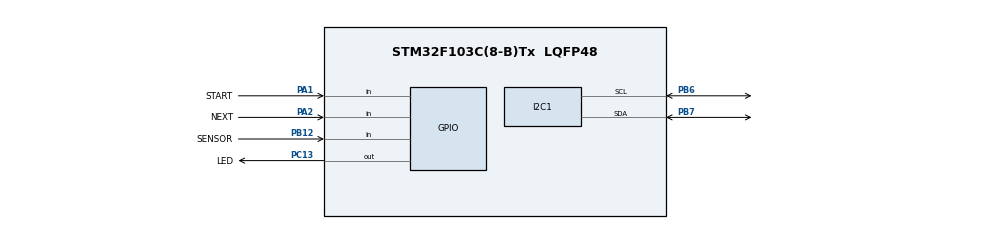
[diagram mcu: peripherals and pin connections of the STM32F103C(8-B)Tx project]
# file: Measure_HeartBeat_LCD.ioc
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Mcu.Family=STM32F1
Mcu.Name=STM32F103C(8-B)Tx
Mcu.Package=LQFP48
NVIC.PriorityGroup=NVIC_PRIORITYGROUP_4
NVIC.RCC_IRQn=true\:0\:0\:false\:false\:true\:true\:false
NVIC.TIM1_UP_IRQn=true\:0\:0\:false\:false\:true\:true\:true
PA1.GPIO_Label=START
PA1.GPIO_PuPd=GPIO_PULLUP
PA1.Signal=GPIO_Input
PA13.Mode=Serial_Wire
PA13.Signal=SYS_JTMS-SWDIO
PA14.Mode=Serial_Wire
PA14.Signal=SYS_JTCK-SWCLK
PA2.GPIO_Label=NEXT
PA2.GPIO_PuPd=GPIO_PULLUP
PA2.Signal=GPIO_Input
PB12.GPIO_Label=SENSOR
PB12.Signal=GPIO_Input
PB6.Mode=I2C
PB6.Signal=I2C1_SCL
PB7.Mode=I2C
PB7.Signal=I2C1_SDA
PC13-TAMPER-RTC.GPIO_Label=LED
PC13-TAMPER-RTC.Signal=GPIO_Output
PD0-OSC_IN.Mode=HSE-External-Oscillator
PD0-OSC_IN.Signal=RCC_OSC_IN
PD1-OSC_OUT.Mode=HSE-External-Oscillator
PD1-OSC_OUT.Signal=RCC_OSC_OUT
ProjectManager.HeapSize=0x200
ProjectManager.StackSize=0x400
ProjectManager.TargetToolchain=MDK-ARM V5
RCC.APB1Freq_Value=8000000
RCC.APB2Freq_Value=8000000
RCC.SYSCLKSource=RCC_SYSCLKSOURCE_HSE
TIM1.Period=99
TIM1.Prescaler=799
VP_TIM1_VS_ClockSourceINT.Mode=Internal
board=custom

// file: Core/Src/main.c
/* USER CODE BEGIN Header */
/**
  ******************************************************************************
  * @file           : main.c
  * @brief          : Main program body
  ******************************************************************************
  * @attention
  *
  * <h2><center>&copy; Copyright (c) 2021 STMicroelectronics.
  * All rights reserved.</center></h2>
  *
  * This software component is licensed by ST under BSD 3-Clause license,
  * the "License"; You may not use this file except in compliance with the
  * License. You may obtain a copy of the License at:
  *                        opensource.org/licenses/BSD-3-Clause
  *
  ******************************************************************************
  */
/* USER CODE END Header */
#include "main.h"
#include "i2c-lcd.h"
#include <stdio.h>
#include <stdlib.h>

I2C_HandleTypeDef hi2c1;

TIM_HandleTypeDef htim1;

/* USER CODE BEGIN PV */
	int temp=0;
	int beat=0;
	int nhip=0;
	int xung=0;
	int result=0;
	int ok =0;
	int frist =0;
	int second=0;
	float time=0;
	float time_=0;
/* USER CODE END PV */

void SystemClock_Config(void);
static void MX_GPIO_Init(void);
static void MX_I2C1_Init(void);
static void MX_TIM1_Init(void);
int heart_beat();

int main(void)
{

  /* MCU Configuration--------------------------------------------------------*/

  /* Reset of all peripherals, Initializes the Flash interface and the Systick. */
  HAL_Init();

  /* Configure the system clock */
  SystemClock_Config();

  /* Initialize all configured peripherals */
  MX_GPIO_Init();
  MX_I2C1_Init();
  MX_TIM1_Init();
  /* USER CODE BEGIN 2 */
	HAL_TIM_Base_Start_IT(&htim1);
	lcd_init();
	lcd_goto_XY(1,0);
	lcd_send_string("  Measure Beat");
	HAL_Delay(1000);
	lcd_goto_XY(2,0);
	lcd_send_string(" By Tuan Cuong");
  /* USER CODE END 2 */

  /* Infinite loop */
  /* USER CODE BEGIN WHILE */
  while (1)
  {
    if (HAL_GPIO_ReadPin(START_GPIO_Port, START_Pin) == 0){
			HAL_Delay(50);
			while(HAL_GPIO_ReadPin(START_GPIO_Port, START_Pin) == 0);
			ok=1;
			lcd_clear_display();
			HAL_Delay(500);
			lcd_goto_XY(1,0);
			lcd_send_string("Starting");
			HAL_Delay(1000);
			lcd_goto_XY(1,0);
			lcd_send_string("Please waiting..");
			HAL_Delay(500);
			for (int i=0; i<5; i++){
				int temp_ = heart_beat();
				if (temp_ > 1 && temp_ <150) {
					temp = temp + temp_;
				}
				else {
					i--;
				}
			}
			result =temp/5;
			frist = result;
			temp=0;
			char str[80];
			sprintf(str,"Frist = %d BPM  ", frist);
			lcd_clear_display();
			HAL_Delay(500);
			lcd_goto_XY(1,0);
			lcd_send_string(str);
		}
		if ((HAL_GPIO_ReadPin(NEXT_GPIO_Port,NEXT_Pin)==0) && (ok ==1)){
			HAL_Delay(50);
			while(HAL_GPIO_ReadPin(NEXT_GPIO_Port,NEXT_Pin)==0);
			ok=0;
			lcd_clear_display();
			HAL_Delay(500);
			lcd_goto_XY(1,0);
			lcd_send_string("      Next");
			HAL_Delay(500);
			lcd_goto_XY(1,0);
			lcd_send_string("Please waiting..");
			HAL_Delay(500);
			for (int i=0; i<5; i++){
				int temp_ = heart_beat();
				if (temp_ > 1 && temp_ <150) {
					temp = temp + temp_;
				}
				else {
					i--;
				}
			}
			result =temp/5;
			second =result;
			temp=0;
			if (abs(frist-second) <10){
				lcd_goto_XY(1,0);
				lcd_send_string("   Correct      ");
				lcd_goto_XY(2,0);
				lcd_send_string("");
			}
			else{
				lcd_goto_XY(1,0);
				lcd_send_string("   Incorect     ");
				lcd_goto_XY(2,0);
				lcd_send_string("please try again");
				HAL_Delay(1000);
			}
			char str1[80];
			sprintf(str1,"Frist = %d BPM  ", frist);
			char str2[80];
			sprintf(str2,"Second = %d BPM ", second);
			HAL_Delay(500);
			lcd_goto_XY(1,0);
			lcd_send_string(str1);
			lcd_goto_XY(2,0);
			lcd_send_string(str2);
		}

  }
}

void SystemClock_Config(void)
{
  RCC_OscInitTypeDef RCC_OscInitStruct = {0};
  RCC_ClkInitTypeDef RCC_ClkInitStruct = {0};

  /** Initializes the RCC Oscillators according to the specified parameters
  * in the RCC_OscInitTypeDef structure.
  */
  RCC_OscInitStruct.OscillatorType = RCC_OSCILLATORTYPE_HSE;
  RCC_OscInitStruct.HSEState = RCC_HSE_ON;
  RCC_OscInitStruct.PLL.PLLState = RCC_PLL_NONE;
  if (HAL_RCC_OscConfig(&RCC_OscInitStruct) != HAL_OK)
  {
    Error_Handler();
  }
  /** Initializes the CPU, AHB and APB buses clocks
  */
  RCC_ClkInitStruct.ClockType = RCC_CLOCKTYPE_HCLK|RCC_CLOCKTYPE_SYSCLK
                              |RCC_CLOCKTYPE_PCLK1|RCC_CLOCKTYPE_PCLK2;
  RCC_ClkInitStruct.SYSCLKSource = RCC_SYSCLKSOURCE_HSE;
  RCC_ClkInitStruct.AHBCLKDivider = RCC_SYSCLK_DIV1;
  RCC_ClkInitStruct.APB1CLKDivider = RCC_HCLK_DIV1;
  RCC_ClkInitStruct.APB2CLKDivider = RCC_HCLK_DIV1;

  if (HAL_RCC_ClockConfig(&RCC_ClkInitStruct, FLASH_LATENCY_0) != HAL_OK)
  {
    Error_Handler();
  }
}

static void MX_I2C1_Init(void)
{

  hi2c1.Instance = I2C1;
  hi2c1.Init.ClockSpeed = 100000;
  hi2c1.Init.DutyCycle = I2C_DUTYCYCLE_2;
  hi2c1.Init.OwnAddress1 = 0;
  hi2c1.Init.AddressingMode = I2C_ADDRESSINGMODE_7BIT;
  hi2c1.Init.DualAddressMode = I2C_DUALADDRESS_DISABLE;
  hi2c1.Init.OwnAddress2 = 0;
  hi2c1.Init.GeneralCallMode = I2C_GENERALCALL_DISABLE;
  hi2c1.Init.NoStretchMode = I2C_NOSTRETCH_DISABLE;
  if (HAL_I2C_Init(&hi2c1) != HAL_OK)
  {
    Error_Handler();
  }

}

static void MX_TIM1_Init(void)
{

  TIM_ClockConfigTypeDef sClockSourceConfig = {0};
  TIM_MasterConfigTypeDef sMasterConfig = {0};

  htim1.Instance = TIM1;
  htim1.Init.Prescaler = 799;
  htim1.Init.CounterMode = TIM_COUNTERMODE_UP;
  htim1.Init.Period = 99;
  htim1.Init.ClockDivision = TIM_CLOCKDIVISION_DIV1;
  htim1.Init.RepetitionCounter = 0;
  htim1.Init.AutoReloadPreload = TIM_AUTORELOAD_PRELOAD_DISABLE;
  if (HAL_TIM_Base_Init(&htim1) != HAL_OK)
  {
    Error_Handler();
  }
  sClockSourceConfig.ClockSource = TIM_CLOCKSOURCE_INTERNAL;
  if (HAL_TIM_ConfigClockSource(&htim1, &sClockSourceConfig) != HAL_OK)
  {
    Error_Handler();
  }
  sMasterConfig.MasterOutputTrigger = TIM_TRGO_RESET;
  sMasterConfig.MasterSlaveMode = TIM_MASTERSLAVEMODE_DISABLE;
  if (HAL_TIMEx_MasterConfigSynchronization(&htim1, &sMasterConfig) != HAL_OK)
  {
    Error_Handler();
  }

}

static void MX_GPIO_Init(void)
{
  GPIO_InitTypeDef GPIO_InitStruct = {0};

  /* GPIO Ports Clock Enable */
  __HAL_RCC_GPIOC_CLK_ENABLE();
  __HAL_RCC_GPIOD_CLK_ENABLE();
  __HAL_RCC_GPIOA_CLK_ENABLE();
  __HAL_RCC_GPIOB_CLK_ENABLE();

  /*Configure GPIO pin Output Level */
  HAL_GPIO_WritePin(LED_GPIO_Port, LED_Pin, GPIO_PIN_RESET);

  /*Configure GPIO pin : LED_Pin */
  GPIO_InitStruct.Pin = LED_Pin;
  GPIO_InitStruct.Mode = GPIO_MODE_OUTPUT_PP;
  GPIO_InitStruct.Pull = GPIO_NOPULL;
  GPIO_InitStruct.Speed = GPIO_SPEED_FREQ_LOW;
  HAL_GPIO_Init(LED_GPIO_Port, &GPIO_InitStruct);

  /*Configure GPIO pins : START_Pin NEXT_Pin */
  GPIO_InitStruct.Pin = START_Pin|NEXT_Pin;
  GPIO_InitStruct.Mode = GPIO_MODE_INPUT;
  GPIO_InitStruct.Pull = GPIO_PULLUP;
  HAL_GPIO_Init(GPIOA, &GPIO_InitStruct);

  /*Configure GPIO pin : SENSOR_Pin */
  GPIO_InitStruct.Pin = SENSOR_Pin;
  GPIO_InitStruct.Mode = GPIO_MODE_INPUT;
  GPIO_InitStruct.Pull = GPIO_NOPULL;
  HAL_GPIO_Init(SENSOR_GPIO_Port, &GPIO_InitStruct);

}

/* USER CODE BEGIN 4 */
int heart_beat()
{
	while (HAL_GPIO_ReadPin(GPIOB, SENSOR_Pin) == 0);
	if ((HAL_GPIO_ReadPin(GPIOB, SENSOR_Pin) == 1) && (xung<2)) {
			//HAL_Delay(300);
			HAL_GPIO_WritePin(GPIOC , LED_Pin, GPIO_PIN_SET);
			while (HAL_GPIO_ReadPin(GPIOB, SENSOR_Pin) == 1) HAL_Delay(20);
			xung+=1;
			HAL_GPIO_WritePin(GPIOC , LED_Pin, GPIO_PIN_RESET);
			if (xung == 1) beat=0;
	}
	if (xung==2){
		//HAL_GPIO_WritePin(GPIOC , LED_Pin, GPIO_PIN_RESET);
		time_ = time/100;
		beat = (int)(60/time_);
		time_ = time;
		time=0;
		xung=0;
	}
	return beat;
}
/* USER CODE END 4 */

void Error_Handler(void)
{
  __disable_irq();
  while (1)
  {
  }
}

/************************ (C) COPYRIGHT STMicroelectronics *****END OF FILE****/
